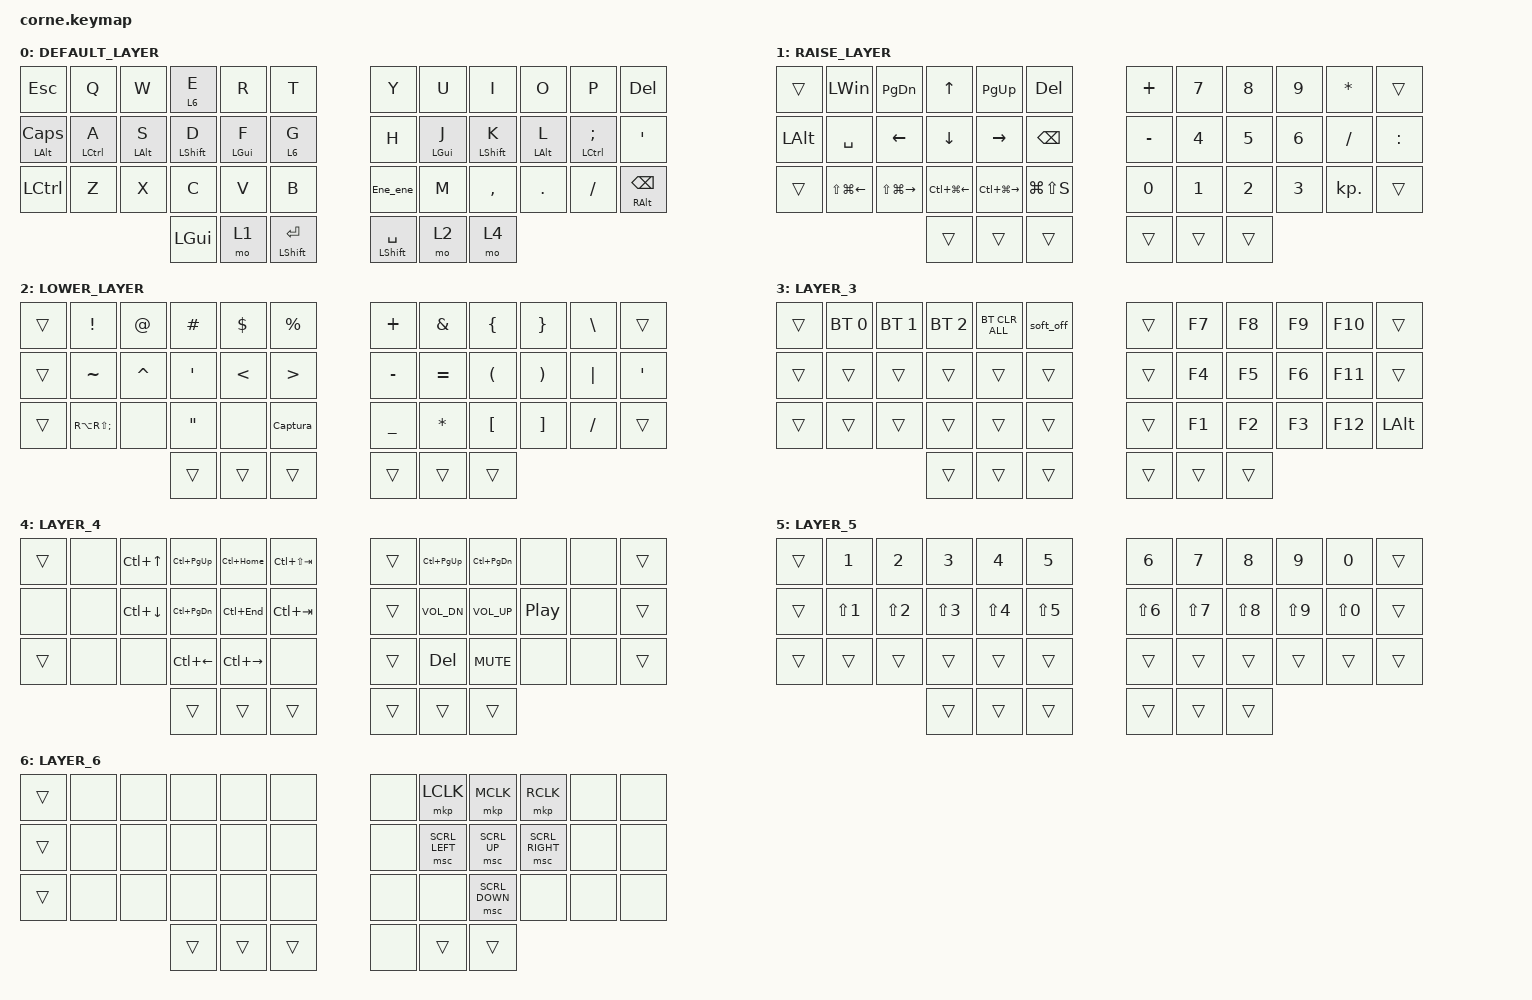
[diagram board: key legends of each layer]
/* ==========================================================================
 * ZMK KEYMAP - CORNE - ADOLF (Punto Dulce / Optimizado)
 * ========================================================================== */

#define DEFAULT_LAYER 0
#define RAISE_LAYER 1
#define LOWER_LAYER 2
#define LAYER_3 3
#define LAYER_4 4
#define LAYER_5 5
#define LAYER_6 6


#define ZMK_POINTING_DEFAULT_SCRL_VAL 20


#include <dt-bindings/zmk/mouse.h>
#include <behaviors.dtsi>
#include <dt-bindings/zmk/bt.h>
#include <dt-bindings/zmk/keys.h>
#include <dt-bindings/zmk/pointing.h>

&soft_off {
    hold-time-ms = <2000>; // Tiempo en milisegundos que se debe mantener presionada la tecla para activar el soft off
};

&mt {
    // Configuración hold-tap base

    tapping-term-ms = <200>;
    quick-tap-ms = <100>;
    bindings = <&kp>, <&kp>;

    flavor = "balanced";
};

/ {
    combos {
        compatible = "zmk,combos";

        // Edición básica

        Copiar {
            bindings = <&kp LC(C)>;
            key-positions = <3 2>;
        };

        Pegar {
            bindings = <&kp LC(V)>;
            key-positions = <14 15>;
        };

        Cortar {
            bindings = <&kp LC(X)>;
            key-positions = <2 3 4>;
        };

        PegarTex {
            bindings = <&kp LC(LS(V))>;
            key-positions = <14 15 16>;
        };

        Desacer {
            bindings = <&kp LC(Z)>;
            key-positions = <25 26>;
        };

        Reacer {
            bindings = <&kp LC(Y)>;
            key-positions = <1 2>;
        };

        // Borrado

        Backspace {
            bindings = <&kp BACKSPACE>;
            key-positions = <19 20>;
        };

        BorrarPalabra {
            bindings = <&kp LC(BACKSPACE)>;
            key-positions = <19 20 21>;
        };

        Delete_ {
            bindings = <&kp DEL>;
            key-positions = <7 8>;
        };

        // Navegación

        Pag_Up {
            bindings = <&kp PAGE_UP>;
            key-positions = <8 9>;
            require-prior-idle-ms = <40>;
        };

        Pag_Down {
            bindings = <&kp PAGE_DOWN>;
            key-positions = <32 33>;
            require-prior-idle-ms = <40>;
        };

        Home_ {
            bindings = <&kp HOME>;
            key-positions = <7 8 9>;
        };

        End_ {
            bindings = <&kp END>;
            key-positions = <31 32 33>;
        };

        // Sistema y control

        Alt-Tab {
            bindings = <&kp LA(TAB)>;
            key-positions = <26 27>;
        };

        // Entrada

        Espacio {
            bindings = <&kp SPACE>;
            key-positions = <28 27>;
        };

        Tecl_Tab {
            bindings = <&kp TAB>;
            key-positions = <15 16>;
        };

        EnterDerecho {
            bindings = <&kp ENTER>;
            key-positions = <20 21>;
        };

        // Bluetooth
    };

    behaviors {
        // Tap dance especiales

        Ene_ene: Ene_ene {
            compatible = "zmk,behavior-tap-dance";
            label = "ENE_ENE";
            #binding-cells = <0>;
            bindings = <&kp N>, <&kp RA(N)>;
        };

        // Hold-tap genérico

        Hm: Hm {
            compatible = "zmk,behavior-hold-tap";
            label = "HM";
            bindings = <&kp>, <&kp>;

            #binding-cells = <2>;
            tapping-term-ms = <250>;
            quick-tap-ms = <0>;
            flavor = "tap-preferred";
        };

        // Bluetooth selección (tap = nada, hold = acción)
        // Sistema
    };

    macros {
        // Macro captura (Win + Shift + S)

        Captura: M1 {
            compatible = "zmk,behavior-macro";
            #binding-cells = <0>;
            bindings = <&kp LG(LS(S))>;
            label = "M1";
        };
    };

    keymap {
        compatible = "zmk,keymap";
        default_layer = <0>; // Establece la capa 0 como predeterminada
        DEFAULT_LAYER {
            bindings = <
&kp ESCAPE         &kp Q        &kp W       &lt 6 E           &kp R           &kp T               &kp Y             &kp U           &kp I             &kp O           &kp P                &kp DEL
&mt LEFT_ALT CAPS  &Hm LCTRL A  &Hm LALT S  &Hm LEFT_SHIFT D  &Hm LEFT_GUI F  &lt 6 G             &kp H             &Hm LEFT_GUI J  &Hm LEFT_SHIFT K  &Hm LEFT_ALT L  &Hm LCTRL SEMICOLON  &kp SQT
&kp LCTRL          &kp Z        &kp X       &kp C             &kp V           &kp B               &Ene_ene          &kp M           &kp COMMA         &kp DOT         &kp FSLH             &mt RIGHT_ALT BACKSPACE
                                            &kp LGUI          &mo 1           &mt LSHIFT ENTER    &mt LSHIFT SPACE  &mo 2           &mo 4
            >;
        };

        RAISE_LAYER {
            bindings = <
&trans    &kp LEFT_WIN      &kp PAGE_DOWN            &kp UP_ARROW            &kp PAGE_UP        &kp DEL          &kp PLUS   &kp N7        &kp N8        &kp N9        &kp ASTRK   &trans
&kp LALT  &kp SPACE         &kp LEFT_ARROW           &kp DOWN_ARROW          &kp RIGHT          &kp BACKSPACE    &kp MINUS  &kp NUMBER_4  &kp N5        &kp NUMBER_6  &kp SLASH   &kp COLON
&trans    &kp LS(LG(LEFT))  &kp LS(LG(RIGHT_ARROW))  &kp LC(LG(LEFT_ARROW))  &kp LC(LG(RIGHT))  &kp LG(LS(S))    &kp N0     &kp NUMBER_1  &kp NUMBER_2  &kp NUMBER_3  &kp KP_DOT  &trans
                                                     &trans                  &trans             &trans           &trans     &trans        &trans
            >;
        };

        LOWER_LAYER {
            bindings = <
&trans  &kp EXCL          &kp AT     &kp HASH           &kp DOLLAR     &kp PERCENT         &kp PLUS        &kp AMPERSAND  &kp LEFT_BRACE        &kp RIGHT_BRACE        &kp BACKSLASH  &trans
&trans  &kp TILDE         &kp CARET  &kp APOS           &kp LESS_THAN  &kp GREATER_THAN    &kp MINUS       &kp EQUAL      &kp LEFT_PARENTHESIS  &kp RIGHT_PARENTHESIS  &kp PIPE       &kp SINGLE_QUOTE
&trans  &kp RA(RS(SEMI))  &none      &kp DOUBLE_QUOTES  &none          &Captura            &kp UNDERSCORE  &kp ASTERISK   &kp LEFT_BRACKET      &kp RIGHT_BRACKET      &kp SLASH      &trans
                                     &trans             &trans         &trans              &trans          &trans         &trans
            >;
        };

        LAYER_3 {
            bindings = <
&trans  &bt BT_SEL 0  &bt BT_SEL 1  &bt BT_SEL 2  &bt BT_CLR_ALL  &soft_off    &trans  &kp F7  &kp F8  &kp F9  &kp F10  &trans
&trans  &trans        &trans        &trans        &trans          &trans       &trans  &kp F4  &kp F5  &kp F6  &kp F11  &trans
&trans  &trans        &trans        &trans        &trans          &trans       &trans  &kp F1  &kp F2  &kp F3  &kp F12  &kp LEFT_ALT
                                    &trans        &trans          &trans       &trans  &trans  &trans
            >;
        };

        LAYER_4 {
            bindings = <
&trans  &none  &kp LC(UP)          &kp LC(PAGE_UP)    &kp LC(HOME)   &kp LC(LS(TAB))    &trans  &kp LC(PAGE_UP)  &kp LC(PAGE_DOWN)  &none             &none  &trans
&none   &none  &kp LC(DOWN_ARROW)  &kp LC(PAGE_DOWN)  &kp LC(END)    &kp LC(TAB)        &trans  &kp C_VOL_DN     &kp C_VOLUME_UP    &kp C_PLAY_PAUSE  &none  &trans
&trans  &none  &none               &kp LC(LEFT)       &kp LC(RIGHT)  &none              &trans  &kp DEL          &kp C_MUTE         &none             &none  &trans
                                   &trans             &trans         &trans             &trans  &trans           &trans
            >;
        };

        LAYER_5 {
            bindings = <
&trans  &kp NUMBER_1      &kp NUMBER_2      &kp NUMBER_3      &kp NUMBER_4      &kp N5        &kp NUMBER_6      &kp N7      &kp N8      &kp NUMBER_9  &kp N0      &trans
&trans  &kp LS(NUMBER_1)  &kp LS(NUMBER_2)  &kp LS(NUMBER_3)  &kp LS(NUMBER_4)  &kp LS(N5)    &kp LS(NUMBER_6)  &kp LS(N7)  &kp LS(N8)  &kp LS(N9)    &kp LS(N0)  &trans
&trans  &trans            &trans            &trans            &trans            &trans        &trans            &trans      &trans      &trans        &trans      &trans
                                            &trans            &trans            &trans        &trans            &trans      &trans
            >;
        };

        LAYER_6 {
            bindings = <
&trans  &none  &none  &none   &none   &none     &none  &mkp LCLK       &mkp MCLK       &mkp RCLK        &none  &none
&trans  &none  &none  &none   &none   &none     &none  &msc SCRL_LEFT  &msc SCRL_UP    &msc SCRL_RIGHT  &none  &none
&trans  &none  &none  &none   &none   &none     &none  &none           &msc SCRL_DOWN  &none            &none  &none
                      &trans  &trans  &trans    &none  &trans          &trans
            >;
        };
    };

    conditional_layers {
        compatible = "zmk,conditional-layers";

        capa5 {
            if-layers = <1 4>;
            then-layer = <5>;
        };

        Capa3 {
            if-layers = <1 2>;
            then-layer = <3>;
        };
    };
};
